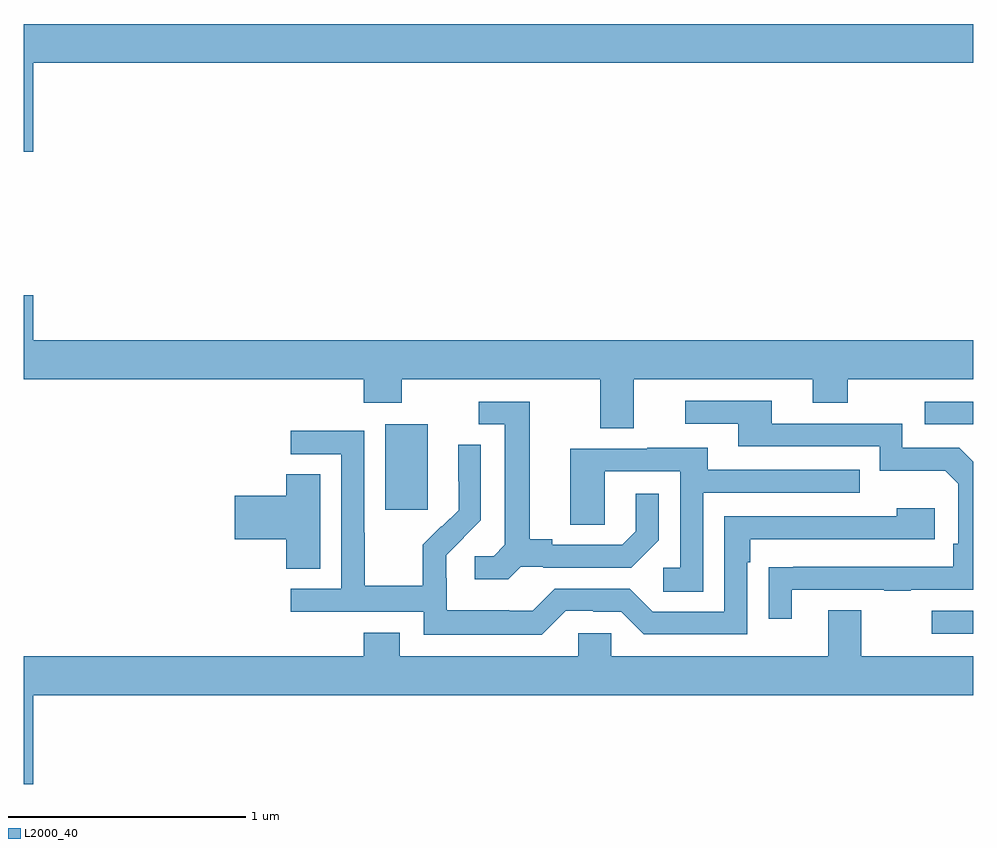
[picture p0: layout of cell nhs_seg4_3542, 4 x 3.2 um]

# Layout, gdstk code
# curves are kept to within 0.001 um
import gdstk
lib = gdstk.Library(unit=1e-6, precision=1e-09)
def R(c, l, rs):  # rectangles x0, y0, x1, y1
    for r in rs: c.add(gdstk.rectangle(r[:2], r[2:], *l))
def P(c, l, *ps):  # polygons
    for p in ps: c.add(gdstk.Polygon(p, *l))
L2000_40 = (2000, 40)

nhs_seg4_3542 = lib.new_cell('nhs_seg4_3542')
R(nhs_seg4_3542, L2000_40, [(300.825,815.727,301,815.823), (298.523,816.249,298.702,816.61), (300.795,816.609,301,816.705)])
P(nhs_seg4_3542, L2000_40, [(297.04,818.132),(301,818.132),(301,818.296),(297,818.296),(297,817.758),(297.04,817.758)],
  [(299.569,816.8),(300.323,816.8),(300.323,816.701),(300.471,816.701),(300.471,816.8),(301,816.8),(301,816.964),(297.04,816.964),(297.04,817.153),(297,817.153),(297,816.8),(298.433,816.8),(298.433,816.701),(298.593,816.701),(298.593,816.8),(299.429,816.8),(299.429,816.592),(299.569,816.592)],
  [(300.235,815.913),(300.625,815.913),(300.625,815.908),(300.737,815.908),(300.737,815.913),(301,815.913),(301,816.452),(300.942,816.51),(300.702,816.51),(300.702,816.612),(300.151,816.612),(300.151,816.708),(299.787,816.708),(299.787,816.612),(300.011,816.612),(300.011,816.516),(300.606,816.516),(300.606,816.413),(300.883,816.413),(300.936,816.36),(300.936,816.106),(300.916,816.106),(300.916,816.009),(300.139,816.008),(300.139,815.79),(300.235,815.79)],
  [(299.094,816.009),(299.188,816.009),(299.188,816.006),(299.56,816.006),(299.676,816.122),(299.676,816.316),(299.579,816.316),(299.579,816.159),(299.522,816.102),(299.227,816.102),(299.227,816.125),(299.131,816.125),(299.131,816.705),(298.917,816.705),(298.917,816.609),(299.027,816.609),(299.027,816.101),(298.98,816.054),(298.899,816.054),(298.899,815.957),(299.042,815.957)],
  [(299.283,815.823),(299.399,815.823),(299.399,815.82),(299.517,815.82),(299.613,815.724),(300.048,815.724),(300.048,816.029),(300.061,816.029),(300.061,816.126),(300.838,816.126),(300.838,816.256),(300.677,816.256),(300.677,816.222),(299.952,816.222),(299.952,815.82),(299.649,815.82),(299.553,815.916),(299.238,815.916),(299.145,815.823),(299.045,815.823),(299.045,815.827),(298.782,815.827),(298.782,815.961),(298.78,815.961),(298.78,816.058),(298.926,816.206),(298.926,816.524),(298.83,816.524),(298.83,816.37),(298.832,816.37),(298.832,816.248),(298.761,816.177),(298.758,816.18),(298.681,816.103),(298.681,815.929),(298.437,815.929),(298.437,816.152),(298.434,816.152),(298.434,816.582),(298.125,816.582),(298.125,816.483),(298.338,816.483),(298.338,815.916),(298.125,815.916),(298.125,815.82),(298.686,815.82),(298.686,815.723),(299.183,815.723)],
  [(299.862,816.321),(300.521,816.321),(300.521,816.417),(299.881,816.417),(299.881,816.511),(299.627,816.511),(299.627,816.507),(299.303,816.507),(299.303,816.187),(299.448,816.187),(299.448,816.411),(299.766,816.411),(299.766,816.006),(299.694,816.006),(299.694,815.905),(299.862,815.905)],
  [(298.249,816.398),(298.106,816.398),(298.106,816.308),(297.888,816.308),(297.888,816.125),(298.106,816.125),(298.106,816.001),(298.249,816.001)],
  [(297.04,815.468),(301,815.468),(301,815.632),(300.529,815.632),(300.529,815.827),(300.389,815.827),(300.389,815.632),(299.475,815.632),(299.475,815.73),(299.337,815.73),(299.337,815.632),(298.585,815.632),(298.585,815.731),(298.433,815.731),(298.433,815.632),(297,815.632),(297,815.094),(297.04,815.094)])

lib.write_gds('nhs_seg4_3542.gds')
